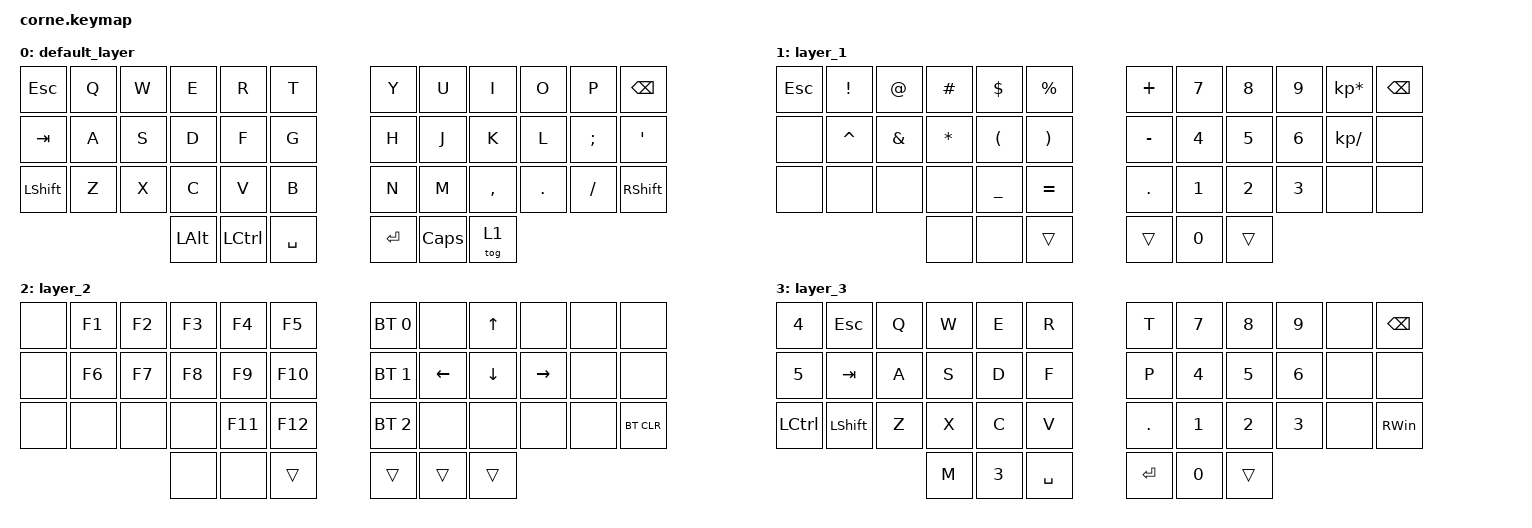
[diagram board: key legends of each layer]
/*
 * Copyright (c) 2020 The ZMK Contributors
 *
 * SPDX-License-Identifier: MIT
 */

#include <behaviors.dtsi>
#include <dt-bindings/zmk/bt.h>
#include <dt-bindings/zmk/keys.h>

/ {
    combos {
        compatible = "zmk,combos";

        Fkeys {
            bindings = <&tog 2>;
            key-positions = <41 40>;
        };

        Game {
            bindings = <&tog 3>;
            key-positions = <41 40 39>;
        };
    };

    keymap {
        compatible = "zmk,keymap";

        default_layer {
            // -----------------------------------------------------------------------------------------
            // |  TAB |  Q  |  W  |  E  |  R  |  T  |   |  Y  |  U   |  I  |  O  |  P  | BSPC |
            // | CTRL |  A  |  S  |  D  |  F  |  G  |   |  H  |  J   |  K  |  L  |  ;  |  '   |
            // | SHFT |  Z  |  X  |  C  |  V  |  B  |   |  N  |  M   |  ,  |  .  |  /  | ESC  |
            //                    | GUI | LWR | SPC |   | ENT | RSE  | ALT |

            bindings = <
&kp ESCAPE  &kp Q  &kp W  &kp E         &kp R             &kp T        &kp Y    &kp U         &kp I      &kp O    &kp P     &kp BSPC
&kp TAB     &kp A  &kp S  &kp D         &kp F             &kp G        &kp H    &kp J         &kp K      &kp L    &kp SEMI  &kp SQT
&kp LSHFT   &kp Z  &kp X  &kp C         &kp V             &kp B        &kp N    &kp M         &kp COMMA  &kp DOT  &kp FSLH  &kp RIGHT_SHIFT
                          &kp LEFT_ALT  &kp LEFT_CONTROL  &kp SPACE    &kp RET  &kp CAPSLOCK  &tog 1
            >;
        };

        layer_1 {
            bindings = <
&kp ESCAPE  &kp EXCL   &kp AT    &kp HASH  &kp DLLR   &kp PRCNT    &kp PLUS   &kp NUMBER_7  &kp NUMBER_8  &kp NUMBER_9  &kp KP_MULTIPLY  &kp BACKSPACE
&none       &kp CARET  &kp AMPS  &kp STAR  &kp LPAR   &kp RPAR     &kp MINUS  &kp NUMBER_4  &kp NUMBER_5  &kp NUMBER_6  &kp KP_DIVIDE    &none
&none       &none      &none     &none     &kp UNDER  &kp EQUAL    &kp DOT    &kp NUMBER_1  &kp NUMBER_2  &kp NUMBER_3  &none            &none
                                 &none     &none      &trans       &trans     &kp NUMBER_0  &trans
            >;
        };

        layer_2 {
            bindings = <
&none  &kp F1  &kp F2  &kp F3  &kp F4   &kp F5     &bt BT_SEL 0  &none           &kp UP_ARROW    &none            &none  &none
&none  &kp F6  &kp F7  &kp F8  &kp F9   &kp F10    &bt BT_SEL 1  &kp LEFT_ARROW  &kp DOWN_ARROW  &kp RIGHT_ARROW  &none  &none
&none  &none   &none   &none   &kp F11  &kp F12    &bt BT_SEL 2  &none           &none           &none            &none  &bt BT_CLR
                       &none   &none    &trans     &trans        &trans          &trans
            >;
        };

        layer_3 {
            bindings = <
&kp NUMBER_4      &kp ESCAPE      &kp Q  &kp W  &kp E         &kp R        &kp T      &kp NUMBER_7  &kp NUMBER_8  &kp NUMBER_9  &none  &kp BACKSPACE
&kp NUMBER_5      &kp TAB         &kp A  &kp S  &kp D         &kp F        &kp P      &kp NUMBER_4  &kp NUMBER_5  &kp NUMBER_6  &none  &none
&kp LEFT_CONTROL  &kp LEFT_SHIFT  &kp Z  &kp X  &kp C         &kp V        &kp DOT    &kp NUMBER_1  &kp NUMBER_2  &kp NUMBER_3  &none  &kp RWIN
                                         &kp M  &kp NUMBER_3  &kp SPACE    &kp ENTER  &kp NUMBER_0  &trans
            >;
        };
    };
};
